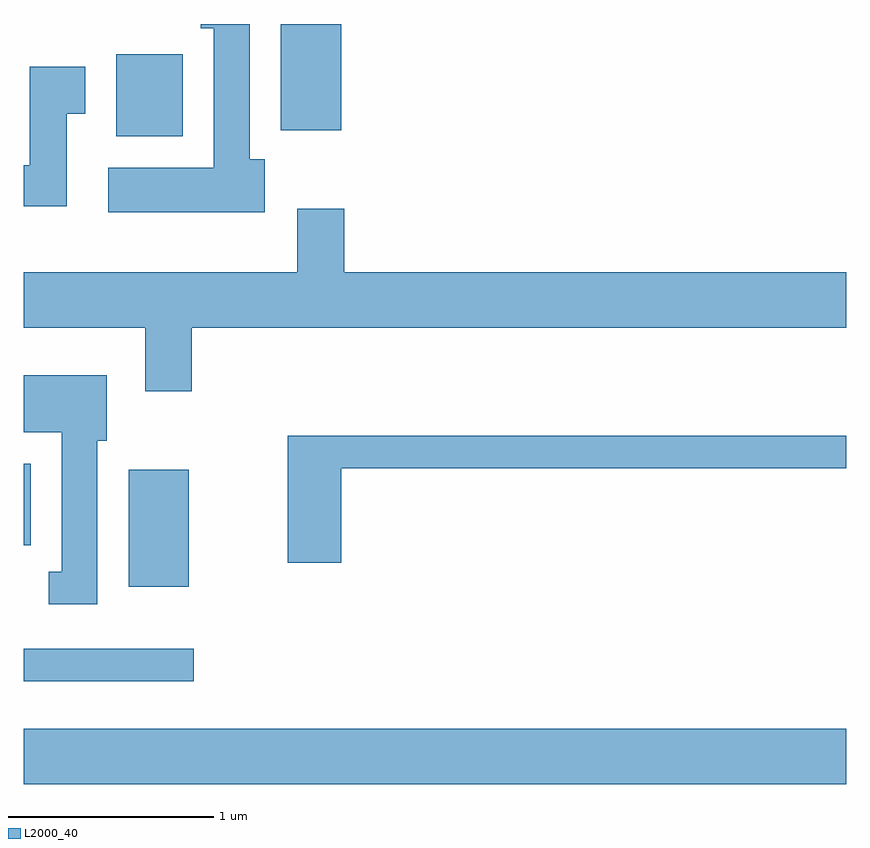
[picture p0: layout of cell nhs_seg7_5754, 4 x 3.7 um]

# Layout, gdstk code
import gdstk
lib = gdstk.Library(unit=1e-6, precision=1e-09)
def R(c, l, rs):  # rectangles x0, y0, x1, y1
    for r in rs: c.add(gdstk.rectangle(r[:2], r[2:], *l))
def P(c, l, *ps):  # polygons
    for p in ps: c.add(gdstk.Polygon(p, *l))
L2000_40 = (2000, 40)

nhs_seg7_5754 = lib.new_cell('nhs_seg7_5754')
R(nhs_seg7_5754, L2000_40, [(361.611,1696.556,365.611,1696.824), (361.611,1697.056,362.438,1697.214), (362.121,1697.516,362.414,1698.084), (361.611,1697.716,361.644,1698.114), (362.061,1699.706,362.384,1700.104), (362.861,1699.736,363.154,1700.252)])
P(nhs_seg7_5754, L2000_40, [(362.784,1699.594),(362.709,1699.594),(362.709,1700.252),(362.473,1700.252),(362.473,1700.231),(362.536,1700.231),(362.536,1699.554),(362.021,1699.554),(362.021,1699.336),(362.784,1699.336)],
  [(361.819,1699.816),(361.909,1699.816),(361.909,1700.044),(361.641,1700.044),(361.641,1699.564),(361.611,1699.564),(361.611,1699.366),(361.819,1699.366)],
  [(362.429,1698.776),(365.611,1698.776),(365.611,1699.044),(363.169,1699.044),(363.169,1699.354),(362.941,1699.354),(362.941,1699.044),(361.611,1699.044),(361.611,1698.776),(362.201,1698.776),(362.201,1698.466),(362.429,1698.466)],
  [(361.969,1698.226),(362.014,1698.226),(362.014,1698.544),(361.611,1698.544),(361.611,1698.266),(361.796,1698.266),(361.796,1697.589),(361.733,1697.589),(361.733,1697.431),(361.969,1697.431)],
  [(363.154,1698.091),(365.611,1698.091),(365.611,1698.249),(362.896,1698.249),(362.896,1697.631),(363.154,1697.631)])

lib.write_gds('nhs_seg7_5754.gds')
